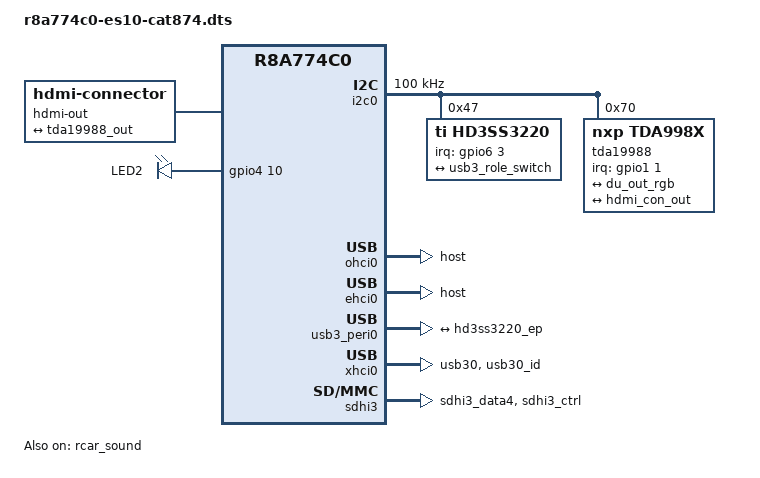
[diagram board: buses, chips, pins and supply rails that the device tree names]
// SPDX-License-Identifier: GPL-2.0
/*
 * Device Tree Source for the Silicon Linux RZ/G2E ES1.0 96board platform
 * (CAT874)
 *
 * Copyright (C) 2020 Renesas Electronics Corp.
 */

/dts-v1/;
#include "r8a774c0-es10.dtsi"
#define WIFI_PARENT_SDHI	sdhi3
#include "cat874-common.dtsi"
#include <dt-bindings/display/tda998x.h>

/ {
	hdmi-out {
		compatible = "hdmi-connector";
		type = "a";

		port {
			hdmi_con_out: endpoint {
				remote-endpoint = <&tda19988_out>;
			};
		};
	};

	leds {
		led2 {
			gpios = <&gpio4 10 GPIO_ACTIVE_HIGH>;
			label = "LED2";
		};
	};

	sound: sound {
		compatible = "simple-audio-card";

		simple-audio-card,format = "i2s";
		simple-audio-card,name = "rcar_sound";

		#address-cells = <1>;
		#size-cells = <0>;

		simple-audio-card,dai-link@0 {
			reg = <0>;
			format = "i2s";
			cpu {
				sound-dai = <&rcar_sound 0>;
				bitclock-master;
				frame-master;
			};

			codec {
				sound-dai = <&tda19988>;
			};
		};

		simple-audio-card,dai-link@1 {
			reg = <1>;
			format = "i2s";
			cpu {
				sound-dai = <&rcar_sound 1>;
				bitclock-master;
				frame-master;
			};

			codec {
				sound-dai = <&pcm5102a>;
			};
		};
	};

	pcm5102a: pcm5102a {
		compatible = "ti,pcm5102a";
		#sound-dai-cells = <0>;
	};
};

&audio_clk_a {
	clock-frequency = <22579200>;
};

&du {
	ports {
		port@0 {
			endpoint {
				remote-endpoint = <&tda19988_in>;
			};
		};
	};
};

&i2c0 {
	status = "okay";
	clock-frequency = <100000>;

	hd3ss3220@47 {
		compatible = "ti,hd3ss3220";
		reg = <0x47>;
		interrupt-parent = <&gpio6>;
		interrupts = <3 IRQ_TYPE_LEVEL_LOW>;

		connector {
			compatible = "usb-c-connector";
			label = "USB-C";
			data-role = "dual";

			ports {
				#address-cells = <1>;
				#size-cells = <0>;

				port@1 {
					reg = <1>;
					hd3ss3220_ep: endpoint {
						remote-endpoint = <&usb3_role_switch>;
					};
				};
			};
		};
	};

	tda19988: tda19988@70 {
		compatible = "nxp,tda998x";
		reg = <0x70>;
		interrupt-parent = <&gpio1>;
		interrupts = <1 IRQ_TYPE_LEVEL_LOW>;

		video-ports = <0x234501>;

		#sound-dai-cells = <0>;
		audio-ports = <TDA998x_I2S 0x03>;
		clocks = <&rcar_sound 1>;

		ports {
			#address-cells = <1>;
			#size-cells = <0>;

			port@0 {
				reg = <0>;
				tda19988_in: endpoint {
					remote-endpoint = <&du_out_rgb>;
				};
			};

			port@1 {
				reg = <1>;
				tda19988_out: endpoint {
					remote-endpoint = <&hdmi_con_out>;
				};
			};
		};
	};
};

&rcar_sound {
	pinctrl-0 = <&sound_pins &sound_clk_pins>;
	pinctrl-names = "default";

	/* Single DAI */
	#sound-dai-cells = <1>;

	/* audio_clkout0/1/2/3 */
	#clock-cells = <1>;
	clock-frequency = <11289600>;

	status = "okay";

	rcar_sound,dai {
		dai0 {
			playback = <&ssi0 &src0 &dvc0>;
		};

		dai1 {
			playback = <&ssi4 &src4 &dvc1>;
		};
	};

};

&ssi4 {
	shared-pin;
};

&ohci0 {
	dr_mode = "host";
};

&ehci0 {
	dr_mode = "host";
};

&usb2_phy0 {
	renesas,no-otg-pins;
};

&usb3_peri0 {
	usb-role-switch;

	port {
		usb3_role_switch: endpoint {
			remote-endpoint = <&hd3ss3220_ep>;
		};
	};
};

&xhci0 {
	pinctrl-0 = <&usb30_pins>;
	pinctrl-names = "default";
};

&sdhi3 {
	pinctrl-0 = <&sdhi3_pins>;
	pinctrl-names = "default";
};

&hscif2 {
	bluetooth {
		enable-gpios = <&gpio4 6 GPIO_ACTIVE_HIGH>;
	};
};

&pfc {
	sdhi3_pins: sd3 {
		groups = "sdhi3_data4", "sdhi3_ctrl";
		function = "sdhi3";
		power-source = <1800>;
	};

	usb30_pins: usb30 {
		groups = "usb30", "usb30_id";
		function = "usb30";
	};

	sound_clk_pins: sound_clk {
		groups = "audio_clkout1_a",
			 "audio_clk_a", "audio_clk_b_a", "audio_clk_c_a";
		function = "audio_clk";
	};

	sound_pins: sound {
		groups = "ssi01239_ctrl", "ssi0_data",
			 "ssi349_ctrl", "ssi3_data", "ssi4_data";
		function = "ssi";
	};
};
